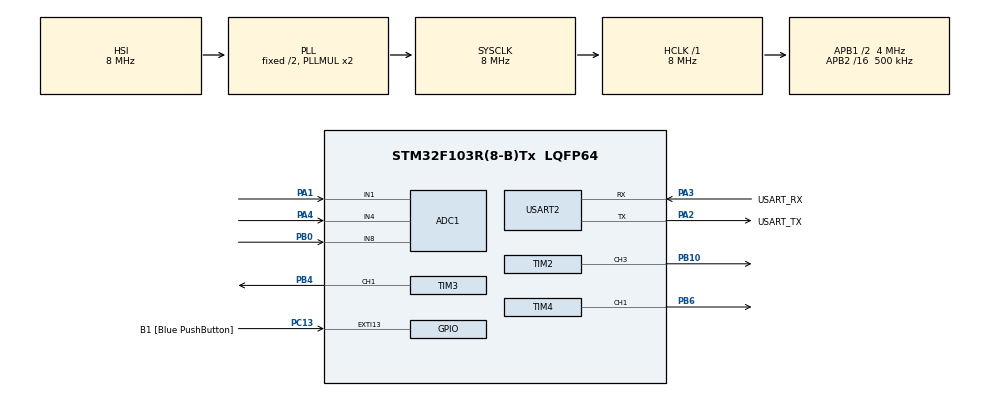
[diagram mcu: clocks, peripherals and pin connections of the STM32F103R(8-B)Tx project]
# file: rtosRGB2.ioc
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ADC1.Channel-0\#ChannelRegularConversion=ADC_CHANNEL_1
ADC1.Channel-1\#ChannelRegularConversion=ADC_CHANNEL_4
ADC1.Channel-2\#ChannelRegularConversion=ADC_CHANNEL_8
ADC1.ContinuousConvMode=ENABLE
ADC1.NbrOfConversion=3
ADC1.NbrOfConversionFlag=1
ADC1.Rank-0\#ChannelRegularConversion=1
ADC1.Rank-1\#ChannelRegularConversion=2
ADC1.Rank-2\#ChannelRegularConversion=3
ADC1.SamplingTime-0\#ChannelRegularConversion=ADC_SAMPLETIME_239CYCLES_5
ADC1.SamplingTime-1\#ChannelRegularConversion=ADC_SAMPLETIME_239CYCLES_5
ADC1.SamplingTime-2\#ChannelRegularConversion=ADC_SAMPLETIME_239CYCLES_5
ADC1.master=1
Dma.ADC1.0.Direction=DMA_PERIPH_TO_MEMORY
Dma.ADC1.0.Instance=DMA1_Channel1
Dma.ADC1.0.MemDataAlignment=DMA_MDATAALIGN_HALFWORD
Dma.ADC1.0.MemInc=DMA_MINC_ENABLE
Dma.ADC1.0.Mode=DMA_CIRCULAR
Dma.ADC1.0.PeriphDataAlignment=DMA_PDATAALIGN_HALFWORD
Dma.ADC1.0.PeriphInc=DMA_PINC_DISABLE
Dma.ADC1.0.Priority=DMA_PRIORITY_HIGH
Dma.Request0=ADC1
FREERTOS.Queues01=redQueue,16,uint16_t,0,Static,redQueueBuffer,redQueueControlBlock;blueQueue,16,uint16_t,0,Static,blueQueueBuffer,blueQueueControlBlock;greenQueue,16,uint16_t,0,Static,greenQueueBuffer,greenQueueControlBlock
FREERTOS.Tasks01=analyzeRed,8,128,AnalyzeRedTask,Default,NULL,Dynamic,NULL,NULL;analyzeGreen,8,128,AnalyzeGreenTask,Default,NULL,Dynamic,NULL,NULL;analyzeBlue,8,128,AnalyzeBlueTask,Default,NULL,Dynamic,NULL,NULL;displayColor,8,128,DisplayColorTask,Default,NULL,Dynamic,NULL,NULL
FREERTOS.configTOTAL_HEAP_SIZE=8192
FREERTOS.configUSE_NEWLIB_REENTRANT=1
Mcu.Family=STM32F1
Mcu.Name=STM32F103R(8-B)Tx
Mcu.Package=LQFP64
NVIC.DMA1_Channel1_IRQn=true\:15\:0\:true\:false\:true\:true\:false\:true\:true
NVIC.EXTI15_10_IRQn=true\:5\:0\:false\:false\:true\:true\:true\:true\:true
NVIC.PriorityGroup=NVIC_PRIORITYGROUP_4
NVIC.TIM1_UP_IRQn=true\:15\:0\:true\:false\:true\:false\:false\:true\:true
NVIC.TimeBase=TIM1_UP_IRQn
NVIC.TimeBaseIP=TIM1
PA1.Signal=SharedAnalog_PA1
PA13.GPIO_Label=TMS
PA13.Mode=Serial_Wire
PA13.Signal=SYS_JTMS-SWDIO
PA14.GPIO_Label=TCK
PA14.Mode=Serial_Wire
PA14.Signal=SYS_JTCK-SWCLK
PA2.GPIO_Label=USART_TX
PA2.GPIO_Mode=GPIO_MODE_AF_PP
PA2.GPIO_PuPd=GPIO_NOPULL
PA2.GPIO_Speed=GPIO_SPEED_FREQ_LOW
PA2.Mode=Asynchronous
PA2.Signal=USART2_TX
PA3.GPIO_Label=USART_RX
PA3.GPIO_Mode=GPIO_MODE_AF_PP
PA3.GPIO_PuPd=GPIO_NOPULL
PA3.GPIO_Speed=GPIO_SPEED_FREQ_LOW
PA3.Mode=Asynchronous
PA3.Signal=USART2_RX
PA4.Signal=SharedAnalog_PA4
PB0.Signal=SharedAnalog_PB0
PB10.Signal=S_TIM2_CH3
PB3.GPIO_Label=SWO
PB3.Signal=SYS_JTDO-TRACESWO
PB4.Signal=S_TIM3_CH1
PB6.Signal=S_TIM4_CH1
PC13-TAMPER-RTC.GPIO_Label=B1 [Blue PushButton]
PC13-TAMPER-RTC.GPIO_PuPd=GPIO_NOPULL
PC13-TAMPER-RTC.Signal=GPXTI13
PC14-OSC32_IN.Mode=LSE-External-Oscillator
PC14-OSC32_IN.Signal=RCC_OSC32_IN
PC15-OSC32_OUT.Mode=LSE-External-Oscillator
PC15-OSC32_OUT.Signal=RCC_OSC32_OUT
PD0-OSC_IN.Mode=HSE-External-Clock-Source
PD0-OSC_IN.Signal=RCC_OSC_IN
PD1-OSC_OUT.Mode=HSE-External-Clock-Source
PD1-OSC_OUT.Signal=RCC_OSC_OUT
ProjectManager.HeapSize=0x200
ProjectManager.StackSize=0x400
ProjectManager.TargetToolchain=STM32CubeIDE
RCC.ADCPresc=RCC_ADCPCLK2_DIV8
RCC.AHBFreq_Value=8000000
RCC.APB1CLKDivider=RCC_HCLK_DIV2
RCC.APB1Freq_Value=4000000
RCC.APB1TimFreq_Value=8000000
RCC.APB2CLKDivider=RCC_HCLK_DIV16
RCC.APB2Freq_Value=500000
RCC.APB2TimFreq_Value=1000000
RCC.HCLKFreq_Value=8000000
RCC.RTCClockSelection=RCC_RTCCLKSOURCE_LSE
RCC.SYSCLKFreq_VALUE=8000000
RCC.SYSCLKSource=RCC_SYSCLKSOURCE_PLLCLK
RCC.USBFreq_Value=8000000
SH.S_TIM2_CH3.0=TIM2_CH3,PWM Generation3 CH3
SH.S_TIM3_CH1.0=TIM3_CH1,PWM Generation1 CH1
SH.S_TIM4_CH1.0=TIM4_CH1,PWM Generation1 CH1
SH.SharedAnalog_PA1.0=GPIO_Analog
SH.SharedAnalog_PA1.1=ADC1_IN1,IN1
SH.SharedAnalog_PA4.0=GPIO_Analog
SH.SharedAnalog_PA4.1=ADC1_IN4,IN4
SH.SharedAnalog_PB0.0=GPIO_Analog
SH.SharedAnalog_PB0.1=ADC1_IN8,IN8
TIM2.Channel-PWM\ Generation3\ CH3=TIM_CHANNEL_3
TIM3.Channel-PWM\ Generation1\ CH1=TIM_CHANNEL_1
TIM4.Channel-PWM\ Generation1\ CH1=TIM_CHANNEL_1
USART2.VirtualMode=VM_ASYNC
VP_FREERTOS_VS_CMSIS_V2.Mode=CMSIS_V2
VP_SYS_VS_tim1.Mode=TIM1
board=NUCLEO-F103RB

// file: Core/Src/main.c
/* USER CODE BEGIN Header */
/**
  ******************************************************************************
  * @file           : main.c
  * @brief          : Main program body
  ******************************************************************************
  * @attention
  *
  * Copyright (c) 2024 STMicroelectronics.
  * All rights reserved.
  *
  * This software is licensed under terms that can be found in the LICENSE file
  * in the root directory of this software component.
  * If no LICENSE file comes with this software, it is provided AS-IS.
  *
  ******************************************************************************
  */
/* USER CODE END Header */
#include "main.h"
#include "cmsis_os.h"

/* USER CODE BEGIN Includes */
#include <stdio.h>
#include <string.h>
#include "timers.h"
/* USER CODE END Includes */

typedef StaticQueue_t osStaticMessageQDef_t;
/* USER CODE BEGIN PTD */
typedef enum { false, true } bool;

typedef struct RgbValue
{
	uint8_t Red;
	uint8_t Green;
	uint8_t Blue;
} RgbValue;

typedef struct HsvValue
{
	uint8_t Hue;
	uint8_t Saturation;
	uint8_t Value;
} HsvValue;

typedef struct ColorData
{
	uint8_t Average;
	uint32_t Sum;
	uint32_t Count;
} ColorData;
/* USER CODE END PTD */

ADC_HandleTypeDef hadc1;
DMA_HandleTypeDef hdma_adc1;

TIM_HandleTypeDef htim2;
TIM_HandleTypeDef htim3;
TIM_HandleTypeDef htim4;

UART_HandleTypeDef huart2;

/* Definitions for analyzeRed */
osThreadId_t analyzeRedHandle;
const osThreadAttr_t analyzeRed_attributes = {
  .name = "analyzeRed",
  .stack_size = 128 * 4,
  .priority = (osPriority_t) osPriorityLow,
};
/* Definitions for analyzeGreen */
osThreadId_t analyzeGreenHandle;
const osThreadAttr_t analyzeGreen_attributes = {
  .name = "analyzeGreen",
  .stack_size = 128 * 4,
  .priority = (osPriority_t) osPriorityLow,
};
/* Definitions for analyzeBlue */
osThreadId_t analyzeBlueHandle;
const osThreadAttr_t analyzeBlue_attributes = {
  .name = "analyzeBlue",
  .stack_size = 128 * 4,
  .priority = (osPriority_t) osPriorityLow,
};
/* Definitions for displayColor */
osThreadId_t displayColorHandle;
const osThreadAttr_t displayColor_attributes = {
  .name = "displayColor",
  .stack_size = 128 * 4,
  .priority = (osPriority_t) osPriorityLow,
};
/* Definitions for redQueue */
osMessageQueueId_t redQueueHandle;
uint8_t redQueueBuffer[ 16 * sizeof( uint16_t ) ];
osStaticMessageQDef_t redQueueControlBlock;
const osMessageQueueAttr_t redQueue_attributes = {
  .name = "redQueue",
  .cb_mem = &redQueueControlBlock,
  .cb_size = sizeof(redQueueControlBlock),
  .mq_mem = &redQueueBuffer,
  .mq_size = sizeof(redQueueBuffer)
};
/* Definitions for blueQueue */
osMessageQueueId_t blueQueueHandle;
uint8_t blueQueueBuffer[ 16 * sizeof( uint16_t ) ];
osStaticMessageQDef_t blueQueueControlBlock;
const osMessageQueueAttr_t blueQueue_attributes = {
  .name = "blueQueue",
  .cb_mem = &blueQueueControlBlock,
  .cb_size = sizeof(blueQueueControlBlock),
  .mq_mem = &blueQueueBuffer,
  .mq_size = sizeof(blueQueueBuffer)
};
/* Definitions for greenQueue */
osMessageQueueId_t greenQueueHandle;
uint8_t greenQueueBuffer[ 16 * sizeof( uint16_t ) ];
osStaticMessageQDef_t greenQueueControlBlock;
const osMessageQueueAttr_t greenQueue_attributes = {
  .name = "greenQueue",
  .cb_mem = &greenQueueControlBlock,
  .cb_size = sizeof(greenQueueControlBlock),
  .mq_mem = &greenQueueBuffer,
  .mq_size = sizeof(greenQueueBuffer)
};
/* USER CODE BEGIN PV */
#define ADC_BUFFER_SIZE (30)
const uint8_t QUEUE_SIZE = 16;
const uint16_t MAX_ADC_INPUT = 4095;
volatile uint32_t adc_values[ADC_BUFFER_SIZE];
bool IsRgb = true;
RgbValue CurrentColor;
ColorData BlueColorData;
ColorData RedColorData;
ColorData GreenColorData;
StaticTimer_t PrintStatsTimerControlBlock;
/* USER CODE END PV */

void SystemClock_Config(void);
static void MX_GPIO_Init(void);
static void MX_DMA_Init(void);
static void MX_USART2_UART_Init(void);
static void MX_ADC1_Init(void);
static void MX_TIM2_Init(void);
static void MX_TIM3_Init(void);
static void MX_TIM4_Init(void);
void AnalyzeRedTask(void *argument);
void AnalyzeGreenTask(void *argument);
void AnalyzeBlueTask(void *argument);
void DisplayColorTask(void *argument);

/* USER CODE BEGIN PFP */
uint8_t ConvertToByte(int16_t value);
void AnalyzeColor(ColorData *data, osMessageQueueId_t *queue, void (*mapper)(uint8_t), char *colorName);
void SetPWMDutyCycle(uint8_t dutyCycle, TIM_HandleTypeDef *timerHandle, uint16_t channel);
void SafeQueuePut(osMessageQueueId_t *queue, const osMessageQueueAttr_t *queueAttrs, uint16_t *msg);
void AssignRed(uint8_t value);
void AssignGreen(uint8_t value);
void AssignBlue(uint8_t value);
HsvValue RgbToHsv(RgbValue *color);
void PrintStatsCallback(void *argument);
/* USER CODE END PFP */

/* USER CODE BEGIN 0 */

uint8_t ConvertToByte(int16_t value)
{
	return (value * UINT8_MAX) / MAX_ADC_INPUT;
}

void AnalyzeColor(ColorData *data, osMessageQueueId_t *queue, void (*mapper)(uint8_t), char *colorName)
{
	uint32_t value;
  	uint32_t messageCount = osMessageQueueGetCount(*queue);
  	uint8_t convertedValue;
  	char messageBuffer[32] = {};
	if (messageCount > 0 && messageCount <= QUEUE_SIZE)
	{
		  for (uint8_t i = 0; i < messageCount; i++)
		  {
			  osMessageQueueGet(*queue, &value, NULL, 0);
			  convertedValue = ConvertToByte(value);
			  data -> Sum += convertedValue;
			  data -> Count++;
			  data -> Average = data -> Sum / data -> Count;
		  }

		  mapper(convertedValue);
		  if (sprintf(messageBuffer, "Value of %s: %i -> %i \r\n", colorName, (int)value, convertedValue) >= 0)
			  HAL_UART_Transmit(&huart2, (uint8_t*)messageBuffer, strlen((char*)messageBuffer), HAL_MAX_DELAY);

	}
}

void SetPWMDutyCycle(uint8_t dutyCycle, TIM_HandleTypeDef *timerHandle, uint16_t channel)
{
    TIM_OC_InitTypeDef sConfigOC;
    sConfigOC.OCMode = TIM_OCMODE_PWM1;
    sConfigOC.Pulse = dutyCycle;
    sConfigOC.OCPolarity = TIM_OCPOLARITY_HIGH;
    sConfigOC.OCFastMode = TIM_OCFAST_DISABLE;
    HAL_TIM_PWM_ConfigChannel(timerHandle, &sConfigOC, channel);
    HAL_TIM_PWM_Start(timerHandle, channel);
}

void SafeQueuePut(osMessageQueueId_t *queue, const osMessageQueueAttr_t *queueAttrs, uint16_t *msg)
{
  	uint32_t capacity = osMessageQueueGetCapacity(*queue);
  	if (capacity == QUEUE_SIZE)
  	{
  		if (osMessageQueueGetSpace(*queue) > 0)
  			osMessageQueuePut(*queue, msg, 0, 0);
  	}
  	else
  	{
  		osMessageQueueDelete(*queue);
  		*queue = osMessageQueueNew(QUEUE_SIZE, sizeof(uint16_t), queueAttrs);
  	}
}

void AssignRed(uint8_t value)
{
	CurrentColor.Red = value;
}

void AssignGreen(uint8_t value)
{
	CurrentColor.Green = value;
}

void AssignBlue(uint8_t value)
{
	CurrentColor.Blue = value;
}

HsvValue RgbToHsv(RgbValue *color) //this function is chat gpt genrated
{
    uint8_t max = color -> Red > color -> Green ? (color -> Red > color -> Blue ? color -> Red : color -> Blue) : (color -> Green > color -> Blue ? color -> Green : color -> Blue);
    uint8_t min = color -> Red < color -> Green ? (color -> Red < color -> Blue ? color -> Red : color -> Blue) : (color -> Green < color -> Blue ? color -> Green : color -> Blue);
    uint8_t delta = max - min;

    uint8_t v = max;
    uint8_t h, s;
    if (max != 0)
        s = 255 * (long) delta / max;
    else {
        s = 0;
        h = 0;
        return (HsvValue){ h, s, v };
    }
    if (delta == 0) {
        h = 0;
        return (HsvValue){ h, s, v };
    }

    if (color -> Red == max)
        h = 43 * (color -> Green - color -> Blue) / delta;
    else if (color -> Green == max)
        h = 85 + 43 * (color -> Blue - color -> Red) / delta;
    else
        h = 171 + 43 * (color -> Red - color -> Green) / delta;

    if (h < 0)
        h += 255;

    return (HsvValue){ h, s, v };
}
/* USER CODE END 0 */

int main(void)
{

  /* MCU Configuration--------------------------------------------------------*/

  /* Reset of all peripherals, Initializes the Flash interface and the Systick. */
  HAL_Init();

  /* Configure the system clock */
  SystemClock_Config();

  /* Initialize all configured peripherals */
  MX_GPIO_Init();
  MX_DMA_Init();
  MX_USART2_UART_Init();
  MX_ADC1_Init();
  MX_TIM2_Init();
  MX_TIM3_Init();
  MX_TIM4_Init();
  /* USER CODE BEGIN 2 */
  NVIC_SetPriorityGrouping(0);
  /* USER CODE END 2 */

  /* Init scheduler */
  osKernelInitialize();

  /* USER CODE BEGIN RTOS_TIMERS */
  TimerHandle_t hTimer = xTimerCreateStatic("printStatsTimer", 5000, pdTRUE, (void*)0, PrintStatsCallback, &PrintStatsTimerControlBlock);
  xTimerStart(hTimer, portMAX_DELAY);
  /* USER CODE END RTOS_TIMERS */

  /* Create the queue(s) */
  /* creation of redQueue */
  redQueueHandle = osMessageQueueNew (16, sizeof(uint16_t), &redQueue_attributes);

  /* creation of blueQueue */
  blueQueueHandle = osMessageQueueNew (16, sizeof(uint16_t), &blueQueue_attributes);

  /* creation of greenQueue */
  greenQueueHandle = osMessageQueueNew (16, sizeof(uint16_t), &greenQueue_attributes);

  /* Create the thread(s) */
  /* creation of analyzeRed */
  analyzeRedHandle = osThreadNew(AnalyzeRedTask, NULL, &analyzeRed_attributes);

  /* creation of analyzeGreen */
  analyzeGreenHandle = osThreadNew(AnalyzeGreenTask, NULL, &analyzeGreen_attributes);

  /* creation of analyzeBlue */
  analyzeBlueHandle = osThreadNew(AnalyzeBlueTask, NULL, &analyzeBlue_attributes);

  /* creation of displayColor */
  displayColorHandle = osThreadNew(DisplayColorTask, NULL, &displayColor_attributes);

  /* USER CODE BEGIN RTOS_EVENTS */
  /* add events, ... */
  HAL_ADC_Start_DMA(&hadc1, (uint32_t*)adc_values, ADC_BUFFER_SIZE);
  /* USER CODE END RTOS_EVENTS */

  /* Start scheduler */
  osKernelStart();

  /* We should never get here as control is now taken by the scheduler */

  /* Infinite loop */
  while (1)
  {

  }
}

void SystemClock_Config(void)
{
  RCC_OscInitTypeDef RCC_OscInitStruct = {0};
  RCC_ClkInitTypeDef RCC_ClkInitStruct = {0};
  RCC_PeriphCLKInitTypeDef PeriphClkInit = {0};

  /** Initializes the RCC Oscillators according to the specified parameters
  * in the RCC_OscInitTypeDef structure.
  */
  RCC_OscInitStruct.OscillatorType = RCC_OSCILLATORTYPE_HSI;
  RCC_OscInitStruct.HSIState = RCC_HSI_ON;
  RCC_OscInitStruct.HSICalibrationValue = RCC_HSICALIBRATION_DEFAULT;
  RCC_OscInitStruct.PLL.PLLState = RCC_PLL_ON;
  RCC_OscInitStruct.PLL.PLLSource = RCC_PLLSOURCE_HSI_DIV2;
  RCC_OscInitStruct.PLL.PLLMUL = RCC_PLL_MUL2;
  if (HAL_RCC_OscConfig(&RCC_OscInitStruct) != HAL_OK)
  {
    Error_Handler();
  }

  /** Initializes the CPU, AHB and APB buses clocks
  */
  RCC_ClkInitStruct.ClockType = RCC_CLOCKTYPE_HCLK|RCC_CLOCKTYPE_SYSCLK
                              |RCC_CLOCKTYPE_PCLK1|RCC_CLOCKTYPE_PCLK2;
  RCC_ClkInitStruct.SYSCLKSource = RCC_SYSCLKSOURCE_PLLCLK;
  RCC_ClkInitStruct.AHBCLKDivider = RCC_SYSCLK_DIV1;
  RCC_ClkInitStruct.APB1CLKDivider = RCC_HCLK_DIV2;
  RCC_ClkInitStruct.APB2CLKDivider = RCC_HCLK_DIV16;

  if (HAL_RCC_ClockConfig(&RCC_ClkInitStruct, FLASH_LATENCY_0) != HAL_OK)
  {
    Error_Handler();
  }
  PeriphClkInit.PeriphClockSelection = RCC_PERIPHCLK_ADC;
  PeriphClkInit.AdcClockSelection = RCC_ADCPCLK2_DIV8;
  if (HAL_RCCEx_PeriphCLKConfig(&PeriphClkInit) != HAL_OK)
  {
    Error_Handler();
  }
}

static void MX_ADC1_Init(void)
{

  ADC_ChannelConfTypeDef sConfig = {0};

  /** Common config
  */
  hadc1.Instance = ADC1;
  hadc1.Init.ScanConvMode = ADC_SCAN_ENABLE;
  hadc1.Init.ContinuousConvMode = ENABLE;
  hadc1.Init.DiscontinuousConvMode = DISABLE;
  hadc1.Init.ExternalTrigConv = ADC_SOFTWARE_START;
  hadc1.Init.DataAlign = ADC_DATAALIGN_RIGHT;
  hadc1.Init.NbrOfConversion = 3;
  if (HAL_ADC_Init(&hadc1) != HAL_OK)
  {
    Error_Handler();
  }

  /** Configure Regular Channel
  */
  sConfig.Channel = ADC_CHANNEL_1;
  sConfig.Rank = ADC_REGULAR_RANK_1;
  sConfig.SamplingTime = ADC_SAMPLETIME_239CYCLES_5;
  if (HAL_ADC_ConfigChannel(&hadc1, &sConfig) != HAL_OK)
  {
    Error_Handler();
  }

  /** Configure Regular Channel
  */
  sConfig.Channel = ADC_CHANNEL_4;
  sConfig.Rank = ADC_REGULAR_RANK_2;
  if (HAL_ADC_ConfigChannel(&hadc1, &sConfig) != HAL_OK)
  {
    Error_Handler();
  }

  /** Configure Regular Channel
  */
  sConfig.Channel = ADC_CHANNEL_8;
  sConfig.Rank = ADC_REGULAR_RANK_3;
  if (HAL_ADC_ConfigChannel(&hadc1, &sConfig) != HAL_OK)
  {
    Error_Handler();
  }

}

static void MX_TIM2_Init(void)
{

  TIM_MasterConfigTypeDef sMasterConfig = {0};
  TIM_OC_InitTypeDef sConfigOC = {0};

  htim2.Instance = TIM2;
  htim2.Init.Prescaler = 0;
  htim2.Init.CounterMode = TIM_COUNTERMODE_UP;
  htim2.Init.Period = 65535;
  htim2.Init.ClockDivision = TIM_CLOCKDIVISION_DIV1;
  htim2.Init.AutoReloadPreload = TIM_AUTORELOAD_PRELOAD_DISABLE;
  if (HAL_TIM_PWM_Init(&htim2) != HAL_OK)
  {
    Error_Handler();
  }
  sMasterConfig.MasterOutputTrigger = TIM_TRGO_RESET;
  sMasterConfig.MasterSlaveMode = TIM_MASTERSLAVEMODE_DISABLE;
  if (HAL_TIMEx_MasterConfigSynchronization(&htim2, &sMasterConfig) != HAL_OK)
  {
    Error_Handler();
  }
  sConfigOC.OCMode = TIM_OCMODE_PWM1;
  sConfigOC.Pulse = 0;
  sConfigOC.OCPolarity = TIM_OCPOLARITY_HIGH;
  sConfigOC.OCFastMode = TIM_OCFAST_DISABLE;
  if (HAL_TIM_PWM_ConfigChannel(&htim2, &sConfigOC, TIM_CHANNEL_3) != HAL_OK)
  {
    Error_Handler();
  }
  HAL_TIM_MspPostInit(&htim2);

}

static void MX_TIM3_Init(void)
{

  TIM_MasterConfigTypeDef sMasterConfig = {0};
  TIM_OC_InitTypeDef sConfigOC = {0};

  htim3.Instance = TIM3;
  htim3.Init.Prescaler = 0;
  htim3.Init.CounterMode = TIM_COUNTERMODE_UP;
  htim3.Init.Period = 65535;
  htim3.Init.ClockDivision = TIM_CLOCKDIVISION_DIV1;
  htim3.Init.AutoReloadPreload = TIM_AUTORELOAD_PRELOAD_DISABLE;
  if (HAL_TIM_PWM_Init(&htim3) != HAL_OK)
  {
    Error_Handler();
  }
  sMasterConfig.MasterOutputTrigger = TIM_TRGO_RESET;
  sMasterConfig.MasterSlaveMode = TIM_MASTERSLAVEMODE_DISABLE;
  if (HAL_TIMEx_MasterConfigSynchronization(&htim3, &sMasterConfig) != HAL_OK)
  {
    Error_Handler();
  }
  sConfigOC.OCMode = TIM_OCMODE_PWM1;
  sConfigOC.Pulse = 0;
  sConfigOC.OCPolarity = TIM_OCPOLARITY_HIGH;
  sConfigOC.OCFastMode = TIM_OCFAST_DISABLE;
  if (HAL_TIM_PWM_ConfigChannel(&htim3, &sConfigOC, TIM_CHANNEL_1) != HAL_OK)
  {
    Error_Handler();
  }
  HAL_TIM_MspPostInit(&htim3);

}

static void MX_TIM4_Init(void)
{

  TIM_MasterConfigTypeDef sMasterConfig = {0};
  TIM_OC_InitTypeDef sConfigOC = {0};

  htim4.Instance = TIM4;
  htim4.Init.Prescaler = 0;
  htim4.Init.CounterMode = TIM_COUNTERMODE_UP;
  htim4.Init.Period = 65535;
  htim4.Init.ClockDivision = TIM_CLOCKDIVISION_DIV1;
  htim4.Init.AutoReloadPreload = TIM_AUTORELOAD_PRELOAD_DISABLE;
  if (HAL_TIM_PWM_Init(&htim4) != HAL_OK)
  {
    Error_Handler();
  }
  sMasterConfig.MasterOutputTrigger = TIM_TRGO_RESET;
  sMasterConfig.MasterSlaveMode = TIM_MASTERSLAVEMODE_DISABLE;
  if (HAL_TIMEx_MasterConfigSynchronization(&htim4, &sMasterConfig) != HAL_OK)
  {
    Error_Handler();
  }
  sConfigOC.OCMode = TIM_OCMODE_PWM1;
  sConfigOC.Pulse = 0;
  sConfigOC.OCPolarity = TIM_OCPOLARITY_HIGH;
  sConfigOC.OCFastMode = TIM_OCFAST_DISABLE;
  if (HAL_TIM_PWM_ConfigChannel(&htim4, &sConfigOC, TIM_CHANNEL_1) != HAL_OK)
  {
    Error_Handler();
  }
  HAL_TIM_MspPostInit(&htim4);

}

static void MX_USART2_UART_Init(void)
{

  huart2.Instance = USART2;
  huart2.Init.BaudRate = 115200;
  huart2.Init.WordLength = UART_WORDLENGTH_8B;
  huart2.Init.StopBits = UART_STOPBITS_1;
  huart2.Init.Parity = UART_PARITY_NONE;
  huart2.Init.Mode = UART_MODE_TX_RX;
  huart2.Init.HwFlowCtl = UART_HWCONTROL_NONE;
  huart2.Init.OverSampling = UART_OVERSAMPLING_16;
  if (HAL_UART_Init(&huart2) != HAL_OK)
  {
    Error_Handler();
  }

}

static void MX_DMA_Init(void)
{

  /* DMA controller clock enable */
  __HAL_RCC_DMA1_CLK_ENABLE();

  /* DMA interrupt init */
  /* DMA1_Channel1_IRQn interrupt configuration */
  HAL_NVIC_SetPriority(DMA1_Channel1_IRQn, 15, 0);
  HAL_NVIC_EnableIRQ(DMA1_Channel1_IRQn);

}

static void MX_GPIO_Init(void)
{
  GPIO_InitTypeDef GPIO_InitStruct = {0};

  /* GPIO Ports Clock Enable */
  __HAL_RCC_GPIOC_CLK_ENABLE();
  __HAL_RCC_GPIOD_CLK_ENABLE();
  __HAL_RCC_GPIOA_CLK_ENABLE();
  __HAL_RCC_GPIOB_CLK_ENABLE();

  /*Configure GPIO pin : B1_Pin */
  GPIO_InitStruct.Pin = B1_Pin;
  GPIO_InitStruct.Mode = GPIO_MODE_IT_RISING;
  GPIO_InitStruct.Pull = GPIO_NOPULL;
  HAL_GPIO_Init(B1_GPIO_Port, &GPIO_InitStruct);

  /* EXTI interrupt init*/
  HAL_NVIC_SetPriority(EXTI15_10_IRQn, 5, 0);
  HAL_NVIC_EnableIRQ(EXTI15_10_IRQn);

}

/* USER CODE BEGIN 4 */

void HAL_GPIO_EXTI_Callback(uint16_t GPIO_Pin)
{
	if (GPIO_Pin == B1_Pin)
	{
		BaseType_t xHigherPriorityTaskWoken = pdFALSE;
		IsRgb = !IsRgb;
		portYIELD_FROM_ISR(xHigherPriorityTaskWoken);
	}
}

void HAL_ADC_ConvCpltCallback(ADC_HandleTypeDef* hadc)
{
	uint16_t r = adc_values[0];
	uint16_t g = adc_values[2];
	uint16_t b = adc_values[1];
	if (r > MAX_ADC_INPUT || g > MAX_ADC_INPUT || b > MAX_ADC_INPUT)
		return;

	SafeQueuePut(&redQueueHandle, &redQueue_attributes, &r);
	SafeQueuePut(&greenQueueHandle, &greenQueue_attributes, &g);
	SafeQueuePut(&blueQueueHandle, &blueQueue_attributes, &b);
}

void PrintStatsCallback(void *argument)
{
  char messageBuffer[64] = {};
  if (sprintf(messageBuffer, "Avg - red: %u, green: %u, blue: %u \r\n", RedColorData.Average, GreenColorData.Average, BlueColorData.Average) >= 0)
	  HAL_UART_Transmit(&huart2, (uint8_t*)messageBuffer, strlen((char*)messageBuffer), HAL_MAX_DELAY);
}

/* USER CODE END 4 */

void AnalyzeRedTask(void *argument)
{
  /* USER CODE BEGIN 5 */
  /* Infinite loop */
  for(;;)
  {
	  AnalyzeColor(&RedColorData, &redQueueHandle, &AssignRed, "red");
	  osDelay(1);
  }
  osThreadTerminate(analyzeRedHandle);
  /* USER CODE END 5 */
}

void AnalyzeGreenTask(void *argument)
{
  /* USER CODE BEGIN AnalyzeGreenTask */
  /* Infinite loop */
  for(;;)
  {
	  AnalyzeColor(&GreenColorData, &greenQueueHandle, &AssignGreen, "green");
	  osDelay(1);
  }

  osThreadTerminate(analyzeGreenHandle);
  /* USER CODE END AnalyzeGreenTask */
}

void AnalyzeBlueTask(void *argument)
{
  /* USER CODE BEGIN AnalyzeBlueTask */
  /* Infinite loop */
  for(;;)
  {
	  AnalyzeColor(&BlueColorData, &blueQueueHandle, &AssignBlue, "blue");
	  osDelay(1);
  }
  osThreadTerminate(analyzeBlueHandle);
  /* USER CODE END AnalyzeBlueTask */
}

void DisplayColorTask(void *argument)
{
  /* USER CODE BEGIN DisplayColorTask */
  /* Infinite loop */
  uint8_t r, g, b;
  for(;;)
  {
	r = CurrentColor.Red;
	g = CurrentColor.Green;
	b = CurrentColor.Blue;
	if (!IsRgb)
	{
		HsvValue hsvColor = RgbToHsv(&CurrentColor);
		r = hsvColor.Hue;
		g = hsvColor.Saturation;
		b = hsvColor.Value;
	}
	SetPWMDutyCycle(r, &htim4, TIM_CHANNEL_1);
	SetPWMDutyCycle(g, &htim2, TIM_CHANNEL_3);
	SetPWMDutyCycle(b, &htim3, TIM_CHANNEL_1);
    osDelay(1);
  }
  osThreadTerminate(displayColorHandle);
  /* USER CODE END DisplayColorTask */
}

void HAL_TIM_PeriodElapsedCallback(TIM_HandleTypeDef *htim)
{
  if (htim->Instance == TIM1) {
    HAL_IncTick();
  }
}

void Error_Handler(void)
{
  __disable_irq();
  while (1)
  {
  }
}
